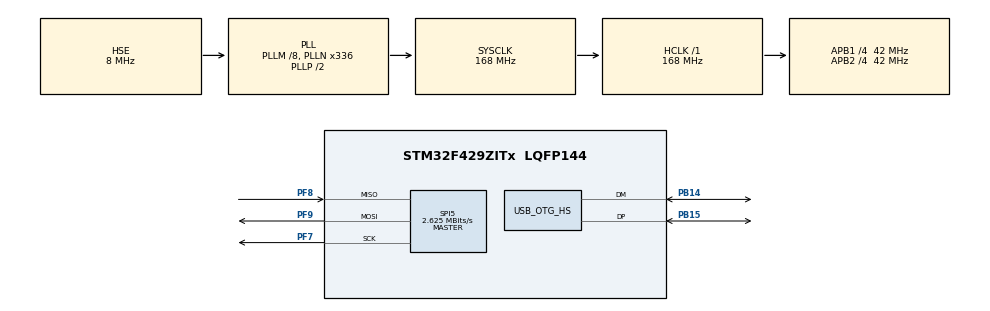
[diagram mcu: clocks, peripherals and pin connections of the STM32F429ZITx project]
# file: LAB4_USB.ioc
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Mcu.Family=STM32F4
Mcu.Name=STM32F429ZITx
Mcu.Package=LQFP144
NVIC.OTG_HS_IRQn=true\:0\:0\:false\:false\:true\:true\:true\:true
NVIC.PriorityGroup=NVIC_PRIORITYGROUP_4
PB14.Mode=Device_Only_FS
PB14.Signal=USB_OTG_HS_DM
PB15.Mode=Device_Only_FS
PB15.Signal=USB_OTG_HS_DP
PF7.Mode=Full_Duplex_Master
PF7.Signal=SPI5_SCK
PF8.Mode=Full_Duplex_Master
PF8.Signal=SPI5_MISO
PF9.Mode=Full_Duplex_Master
PF9.Signal=SPI5_MOSI
PH0/OSC_IN.Mode=HSE-External-Oscillator
PH0/OSC_IN.Signal=RCC_OSC_IN
PH1/OSC_OUT.Mode=HSE-External-Oscillator
PH1/OSC_OUT.Signal=RCC_OSC_OUT
ProjectManager.HeapSize=0x2000
ProjectManager.StackSize=0x400
ProjectManager.TargetToolchain=STM32CubeIDE
RCC.48MHZClocksFreq_Value=48000000
RCC.AHBFreq_Value=168000000
RCC.APB1CLKDivider=RCC_HCLK_DIV4
RCC.APB1Freq_Value=42000000
RCC.APB1TimFreq_Value=84000000
RCC.APB2CLKDivider=RCC_HCLK_DIV4
RCC.APB2Freq_Value=42000000
RCC.APB2TimFreq_Value=84000000
RCC.CortexFreq_Value=168000000
RCC.HCLKFreq_Value=168000000
RCC.HSE_VALUE=8000000
RCC.HSI_VALUE=16000000
RCC.LSE_VALUE=32768
RCC.PLLM=8
RCC.PLLN=336
RCC.PLLQ=7
RCC.SYSCLKFreq_VALUE=168000000
RCC.SYSCLKSource=RCC_SYSCLKSOURCE_PLLCLK
RCC.VCOOutputFreq_Value=336000000
SPI5.BaudRatePrescaler=SPI_BAUDRATEPRESCALER_16
SPI5.CalculateBaudRate=2.625 MBits/s
SPI5.Direction=SPI_DIRECTION_2LINES
SPI5.Mode=SPI_MODE_MASTER
SPI5.VirtualType=VM_MASTER
USB_DEVICE.CLASS_NAME_HS=CDC
USB_DEVICE.VirtualMode-CDC_HS=Cdc
USB_DEVICE.VirtualModeHS=Cdc_HS
USB_OTG_HS.VirtualMode-Device_Only_FS=Device_Only_FS
VP_USB_DEVICE_VS_USB_DEVICE_CDC_HS.Mode=CDC_HS
board=custom

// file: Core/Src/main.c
/* USER CODE BEGIN Header */
/**
  ******************************************************************************
  * @file           : main.c
  * @brief          : Main program body
  ******************************************************************************
  * @attention
  *
  * Copyright (c) 2022 STMicroelectronics.
  * All rights reserved.
  *
  * This software is licensed under terms that can be found in the LICENSE file
  * in the root directory of this software component.
  * If no LICENSE file comes with this software, it is provided AS-IS.
  *
  ******************************************************************************
  */
/* USER CODE END Header */
#include "main.h"
#include "usb_device.h"
/* USER CODE BEGIN Includes */
#include "usbd_cdc_if.h"
#include "stm32f4xx.h"
#include "stm32f4xx_hal.h"
#include "stm32f429i_discovery_lcd.h"
#include "stm32f429i_discovery_gyroscope.h"
#include <stdio.h>
/* USER CODE END Includes */

SPI_HandleTypeDef hspi5;

/* USER CODE BEGIN PV */
Point pp_down[] = {{120,10}, {100,30}, {140,30}};
Point pp_right[] = {{240,160}, {220,140}, {220,180}};
Point pp_left[] = {{10,160}, {30,140}, {30,180}};
Point pp_up[] = {{120,300}, {100,280}, {140,280}};

int16_t ThresholdHigh = 10;
int16_t ThresholdLow = -10;
float valxyz[3] = {0};
float xval, yval, zval = 0x00;
float absxval, absyval, abszval = 0x00;
int8_t dataOut[256];

float xAngle = 0x00;
float yAngle = 0x00;
float zAngle = 0x00;

char buffer[20];
/* USER CODE END PV */

void SystemClock_Config(void);
static void MX_GPIO_Init(void);
static void MX_SPI5_Init(void);

int main(void)
{

  /* MCU Configuration--------------------------------------------------------*/

  /* Reset of all peripherals, Initializes the Flash interface and the Systick. */
  HAL_Init();

  /* Configure the system clock */
  SystemClock_Config();

  /* Initialize all configured peripherals */
  MX_GPIO_Init();
  MX_USB_DEVICE_Init();
  MX_SPI5_Init();
  /* USER CODE BEGIN 2 */
  MX_GPIO_Init();
    BSP_GYRO_Init();
    BSP_LCD_Init();
    BSP_LCD_LayerDefaultInit(1, SDRAM_DEVICE_ADDR);
    BSP_LCD_SelectLayer(1);
    BSP_LCD_DisplayOn();
    BSP_LCD_Clear(LCD_COLOR_BLUE);
    BSP_LCD_SetBackColor(LCD_COLOR_BLUE);
    BSP_LCD_SetTextColor(LCD_COLOR_WHITE);
  /* USER CODE END 2 */

  /* Infinite loop */
  while (1)
  {
	  BSP_GYRO_GetXYZ(valxyz);
	  	  xval = valxyz[0];
	  	  yval = valxyz[1];
		  sprintf(dataOut, "Gyr -> GYR_X: %f, GYR_Y: %f, GYR_Z: %f\n", valxyz[0],valxyz[1],valxyz[2]);
		  CDC_Transmit_HS(dataOut,strlen(dataOut));
	  	  if (xval < 0) absxval = -xval;
	  	  else absxval = xval;

	  	  if (yval < 0) absyval = -yval;
	  	  else absyval = yval;

	 if(absxval>2000){
	  	  xAngle += xval*0.05/1000;
	 }

	 if(absyval>2000){
	  	  yAngle += yval*0.05/1000;
	 }

	    if (yAngle < ThresholdLow && xAngle < ThresholdLow){
//	  			BSP_LCD_DisplayStringAtLine(4,"Pos1");
	      BSP_LCD_Clear(LCD_COLOR_BLUE);
	      BSP_LCD_SetBackColor(LCD_COLOR_BLUE);
	      BSP_LCD_SetTextColor(LCD_COLOR_WHITE);	  		   	BSP_LCD_FillPolygon(pp_left, 3);
     BSP_LCD_FillPolygon(pp_down, 3);

	    }

		//North West
	    if (yAngle > ThresholdHigh && xAngle < ThresholdLow){
//		  		BSP_LCD_DisplayStringAtLine(4,"Pos2");
	      BSP_LCD_Clear(LCD_COLOR_BLUE);
	      BSP_LCD_SetBackColor(LCD_COLOR_BLUE);
	      BSP_LCD_SetTextColor(LCD_COLOR_WHITE);	  		    BSP_LCD_FillPolygon(pp_down, 3);
	   	BSP_LCD_FillPolygon(pp_right, 3);

	    }
		//South East
	    if (yAngle < ThresholdLow && xAngle > ThresholdHigh){
//	  		   	BSP_LCD_DisplayStringAtLine(4,"Pos3");
	      BSP_LCD_Clear(LCD_COLOR_BLUE);
	      BSP_LCD_SetBackColor(LCD_COLOR_BLUE);
	      BSP_LCD_SetTextColor(LCD_COLOR_WHITE);	  		   	BSP_LCD_FillPolygon(pp_up, 3);
	   	BSP_LCD_FillPolygon(pp_left, 3);

	    }
		//South West
	    if (yAngle > ThresholdHigh && xAngle > ThresholdHigh){
//		  		BSP_LCD_DisplayStringAtLine(4,"Pos4");
	      BSP_LCD_Clear(LCD_COLOR_BLUE);
	      BSP_LCD_SetBackColor(LCD_COLOR_BLUE);
	      BSP_LCD_SetTextColor(LCD_COLOR_WHITE);	  		   	BSP_LCD_FillPolygon(pp_up, 3);
	   	BSP_LCD_FillPolygon(pp_right, 3);
	    }

	    HAL_Delay(50);
  }
}

void SystemClock_Config(void)
{
  RCC_OscInitTypeDef RCC_OscInitStruct = {0};
  RCC_ClkInitTypeDef RCC_ClkInitStruct = {0};

  /** Configure the main internal regulator output voltage
  */
  __HAL_RCC_PWR_CLK_ENABLE();
  __HAL_PWR_VOLTAGESCALING_CONFIG(PWR_REGULATOR_VOLTAGE_SCALE1);

  /** Initializes the RCC Oscillators according to the specified parameters
  * in the RCC_OscInitTypeDef structure.
  */
  RCC_OscInitStruct.OscillatorType = RCC_OSCILLATORTYPE_HSE;
  RCC_OscInitStruct.HSEState = RCC_HSE_ON;
  RCC_OscInitStruct.PLL.PLLState = RCC_PLL_ON;
  RCC_OscInitStruct.PLL.PLLSource = RCC_PLLSOURCE_HSE;
  RCC_OscInitStruct.PLL.PLLM = 8;
  RCC_OscInitStruct.PLL.PLLN = 336;
  RCC_OscInitStruct.PLL.PLLP = RCC_PLLP_DIV2;
  RCC_OscInitStruct.PLL.PLLQ = 7;
  if (HAL_RCC_OscConfig(&RCC_OscInitStruct) != HAL_OK)
  {
    Error_Handler();
  }

  /** Initializes the CPU, AHB and APB buses clocks
  */
  RCC_ClkInitStruct.ClockType = RCC_CLOCKTYPE_HCLK|RCC_CLOCKTYPE_SYSCLK
                              |RCC_CLOCKTYPE_PCLK1|RCC_CLOCKTYPE_PCLK2;
  RCC_ClkInitStruct.SYSCLKSource = RCC_SYSCLKSOURCE_PLLCLK;
  RCC_ClkInitStruct.AHBCLKDivider = RCC_SYSCLK_DIV1;
  RCC_ClkInitStruct.APB1CLKDivider = RCC_HCLK_DIV4;
  RCC_ClkInitStruct.APB2CLKDivider = RCC_HCLK_DIV4;

  if (HAL_RCC_ClockConfig(&RCC_ClkInitStruct, FLASH_LATENCY_5) != HAL_OK)
  {
    Error_Handler();
  }
}

static void MX_SPI5_Init(void)
{

  /* SPI5 parameter configuration*/
  hspi5.Instance = SPI5;
  hspi5.Init.Mode = SPI_MODE_MASTER;
  hspi5.Init.Direction = SPI_DIRECTION_2LINES;
  hspi5.Init.DataSize = SPI_DATASIZE_8BIT;
  hspi5.Init.CLKPolarity = SPI_POLARITY_LOW;
  hspi5.Init.CLKPhase = SPI_PHASE_1EDGE;
  hspi5.Init.NSS = SPI_NSS_SOFT;
  hspi5.Init.BaudRatePrescaler = SPI_BAUDRATEPRESCALER_16;
  hspi5.Init.FirstBit = SPI_FIRSTBIT_MSB;
  hspi5.Init.TIMode = SPI_TIMODE_DISABLE;
  hspi5.Init.CRCCalculation = SPI_CRCCALCULATION_DISABLE;
  hspi5.Init.CRCPolynomial = 10;
  if (HAL_SPI_Init(&hspi5) != HAL_OK)
  {
    Error_Handler();
  }

}

static void MX_GPIO_Init(void)
{

  /* GPIO Ports Clock Enable */
  __HAL_RCC_GPIOF_CLK_ENABLE();
  __HAL_RCC_GPIOH_CLK_ENABLE();
  __HAL_RCC_GPIOB_CLK_ENABLE();

}

/* USER CODE BEGIN 4 */
//void Send_Data_to_USB(int16_t *Value_DAT)
//{
//  int8_t dataOut[256];
//    sprintf(dataOut, "Gyr -> GYR_X: %d, GYR_Y: %d, GYR_Z: %d\n", Value_DAT[0], Value_DAT[1], Value_DAT[2]);
//    CDC_Transmit_HS(dataOut, strlen(dataOut));
//  }

/* USER CODE END 4 */

void Error_Handler(void)
{
  __disable_irq();
  while (1)
  {
  }
}
